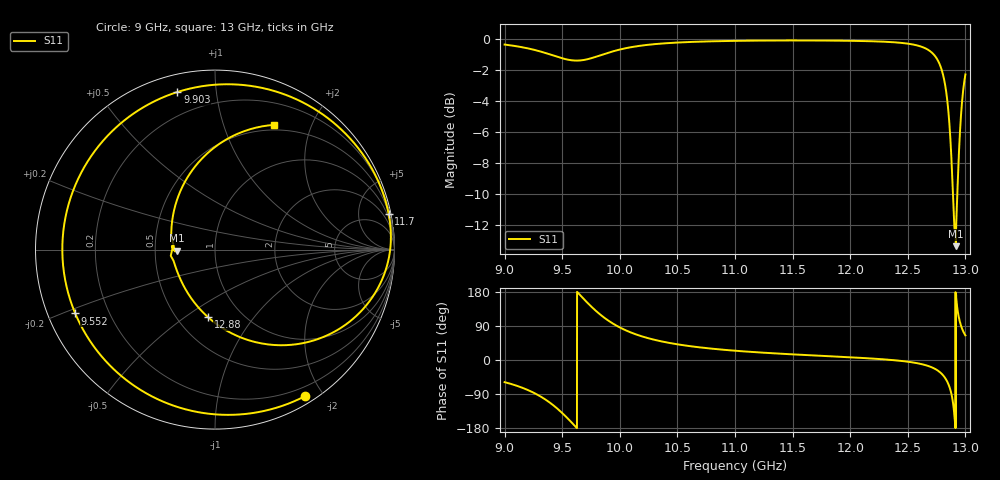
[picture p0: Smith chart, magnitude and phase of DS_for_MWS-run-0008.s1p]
! TOUCHSTONE file generated by CST DESIGN STUDIO
! Date and time: Tue Feb  4 13:24:55 2025
! Project name: C:\Work\MatlabApps\UnitCellOptimizationMatlab\CST\unitcell.cst
! Tree item: Tasks\Sweep1\SPara1\S-Parameters
! Header version: 2024
! Port assignment regex: !\s*Touchstone port\s*([0-9]+)\s*=\s*(CST MWS port|CST DES external port|CST DES block port)\s*(.+)\s* \(\"(.*)\"\)(\s*mode\s*([0-9]+))?.*
! Touchstone port assignment:
! Touchstone port 1 = CST DES external port 1 ("")
# GHz S MA R 50
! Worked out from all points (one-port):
!   4001 points, 9 GHz to 13 GHz, reference 50 ohm
!   lowest |S11| = -13.4 dB at 12.92 GHz (marker M1), VSWR 1.54, Z = 32.4 - j0.377 ohm
!   |S11| at or under -10 dB: 12.89169 GHz to 12.93003 GHz (38.34 MHz wide, 0.297 % of centre)
!   S11 on the Smith chart (normalised r, x): 9 GHz: 0.09, -1.78; 9.552 GHz: 0.08, -0.22; 9.903 GHz: 0.08, +0.79; 11.7 GHz: 0.59, +9.70; 12.88 GHz: 0.70, -0.62; 13 GHz: 0.44, +1.48
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9  0.9584 -58.5
9.16  0.9384 -74.0
9.311  0.9102 -96.1
9.41  0.8866 -116.5
9.5  0.8654 -139.9
9.552  0.8561 -155.5
9.624  0.8507 -178.5
9.696  0.8557 158.2
9.799  0.8767 127.9
9.903  0.9026 103.4
10  0.9236 85.9
10.218  0.9541 60.0
10.5  0.9728 41.4
11  0.9851 24.5
11.5  0.9881 14.9
11.702  0.9878 11.7
12  0.9855 7.1
12.5  0.9649 -4.5
12.663  0.9278 -14.4
12.758  0.8557 -27.4
12.802  0.7758 -38.9
12.839  0.65 -55.1
12.883  0.3792 -95.7
12.902  0.2558 -137.9
12.917  0.214 -178.5
12.938  0.3796 120.4
12.959  0.5461 93.4
13  0.7675 64.8
